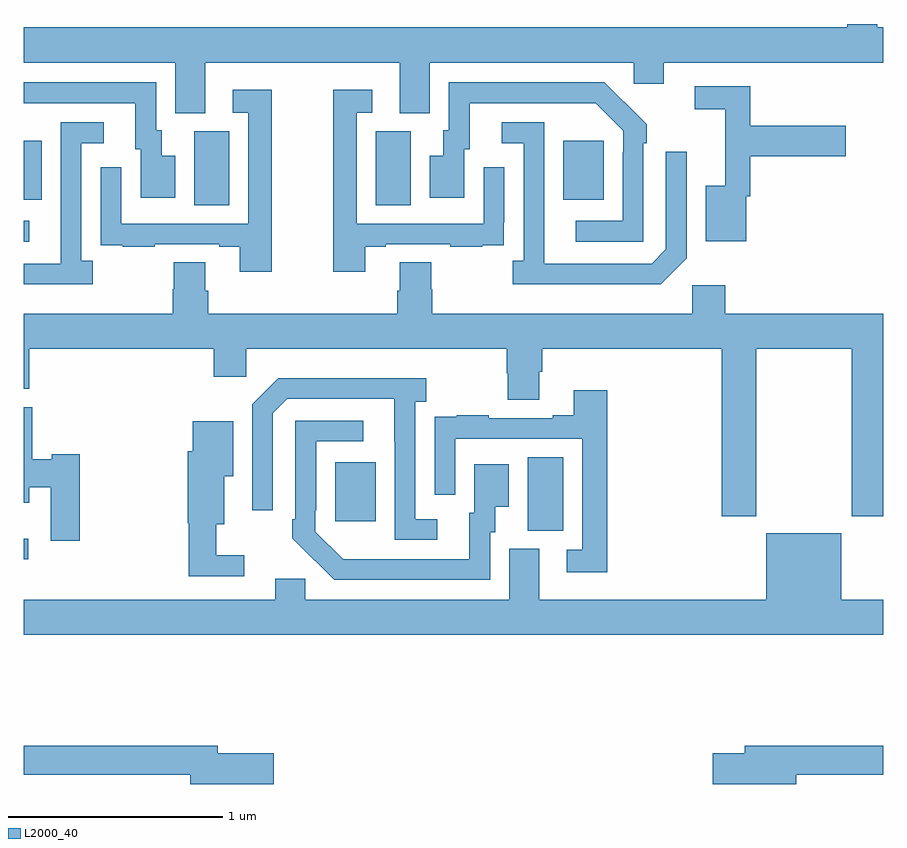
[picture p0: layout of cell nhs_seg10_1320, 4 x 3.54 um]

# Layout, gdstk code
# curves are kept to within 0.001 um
import gdstk
lib = gdstk.Library(unit=1e-6, precision=1e-09)
def R(c, l, rs):  # rectangles x0, y0, x1, y1
    for r in rs: c.add(gdstk.rectangle(r[:2], r[2:], *l))
def P(c, l, *ps):  # polygons
    for p in ps: c.add(gdstk.Polygon(p, *l))
L2000_40 = (2000, 40)

nhs_seg10_1320 = lib.new_cell('nhs_seg10_1320')
R(nhs_seg10_1320, L2000_40, [(179,1294.008,179.02,1294.104), (181.346,1294.141,181.51,1294.484), (180.449,1294.185,180.637,1294.459), (179,1295.487,179.026,1295.583), (179.792,1295.656,179.956,1296), (180.638,1295.656,180.802,1296), (179,1295.681,179.083,1295.956), (181.511,1295.681,181.699,1295.956)])
P(nhs_seg10_1320, L2000_40, [(179.845,1296.32),(180.749,1296.32),(180.749,1296.085),(180.889,1296.085),(180.889,1296.32),(181.839,1296.32),(181.839,1296.222),(181.978,1296.222),(181.978,1296.32),(183,1296.32),(183,1296.484),(182.973,1296.484),(182.973,1296.5),(182.834,1296.5),(182.834,1296.484),(179,1296.484),(179,1296.32),(179.705,1296.32),(179.705,1296.085),(179.845,1296.085)],
  [(179.704,1295.887),(179.641,1295.887),(179.641,1296.006),(179.616,1296.006),(179.616,1296.228),(179,1296.228),(179,1296.132),(179.519,1296.132),(179.519,1295.916),(179.543,1295.916),(179.543,1295.691),(179.704,1295.691)],
  [(181.884,1295.945),(181.899,1295.945),(181.899,1296.033),(181.702,1296.228),(180.978,1296.228),(180.978,1296.006),(180.953,1296.006),(180.953,1295.887),(180.89,1295.887),(180.89,1295.691),(181.051,1295.691),(181.051,1295.916),(181.075,1295.916),(181.075,1296.132),(181.663,1296.132),(181.791,1296.003),(181.791,1295.903),(181.788,1295.903),(181.788,1295.583),(181.569,1295.583),(181.569,1295.487),(181.884,1295.487)],
  [(182.362,1295.697),(182.381,1295.697),(182.381,1295.885),(182.827,1295.885),(182.827,1296.027),(182.381,1296.027),(182.381,1296.21),(182.124,1296.21),(182.124,1296.102),(182.264,1296.102),(182.264,1295.746),(182.174,1295.746),(182.174,1295.489),(182.362,1295.489)],
  [(180.154,1296.193),(179.973,1296.193),(179.973,1296.087),(180.045,1296.087),(180.045,1295.571),(179.454,1295.571),(179.454,1295.833),(179.358,1295.833),(179.358,1295.578),(179.359,1295.578),(179.359,1295.469),(179.461,1295.469),(179.461,1295.463),(179.609,1295.463),(179.609,1295.475),(179.909,1295.475),(179.909,1295.463),(180.005,1295.463),(180.005,1295.346),(180.154,1295.346)],
  [(180.589,1295.463),(180.685,1295.463),(180.685,1295.475),(180.985,1295.475),(180.985,1295.463),(181.133,1295.463),(181.133,1295.469),(181.235,1295.469),(181.235,1295.578),(181.236,1295.578),(181.236,1295.833),(181.14,1295.833),(181.14,1295.571),(180.549,1295.571),(180.549,1296.087),(180.622,1296.087),(180.622,1296.193),(180.441,1296.193),(180.441,1295.346),(180.589,1295.346)],
  [(182.085,1295.409),(182.085,1295.905),(181.989,1295.905),(181.989,1295.451),(181.923,1295.385),(181.423,1295.385),(181.422,1296.042),(181.224,1296.042),(181.224,1295.946),(181.326,1295.946),(181.326,1295.398),(181.275,1295.398),(181.275,1295.288),(181.964,1295.288)],
  [(179.32,1295.398),(179.268,1295.398),(179.268,1295.946),(179.371,1295.946),(179.371,1296.042),(179.172,1296.042),(179.172,1295.585),(179.171,1295.585),(179.171,1295.385),(179,1295.385),(179,1295.288),(179.32,1295.288)],
  [(179.885,1294.857),(180.036,1294.857),(180.036,1294.988),(181.247,1294.988),(181.247,1294.875),(181.252,1294.875),(181.252,1294.75),(181.399,1294.75),(181.399,1294.882),(181.412,1294.882),(181.412,1294.988),(182.249,1294.988),(182.249,1294.209),(182.409,1294.209),(182.409,1294.988),(182.854,1294.988),(182.854,1294.209),(183,1294.209),(183,1295.152),(182.264,1295.152),(182.264,1295.284),(182.112,1295.284),(182.112,1295.152),(180.902,1295.152),(180.902,1295.265),(180.897,1295.265),(180.897,1295.39),(180.749,1295.39),(180.749,1295.258),(180.737,1295.258),(180.737,1295.152),(179.858,1295.152),(179.858,1295.258),(179.845,1295.258),(179.845,1295.39),(179.698,1295.39),(179.698,1295.265),(179.693,1295.265),(179.693,1295.152),(179,1295.152),(179,1294.801),(179.024,1294.801),(179.024,1294.988),(179.885,1294.988)],
  [(180.925,1294.194),(180.822,1294.194),(180.822,1294.742),(180.874,1294.742),(180.874,1294.852),(180.184,1294.852),(180.063,1294.731),(180.063,1294.236),(180.159,1294.236),(180.159,1294.689),(180.225,1294.755),(180.725,1294.755),(180.726,1294.098),(180.925,1294.098)],
  [(181.715,1294.795),(181.559,1294.795),(181.559,1294.678),(181.463,1294.678),(181.463,1294.665),(181.163,1294.665),(181.163,1294.678),(181.015,1294.678),(181.015,1294.671),(180.913,1294.671),(180.913,1294.562),(180.912,1294.562),(180.912,1294.308),(181.008,1294.308),(181.008,1294.569),(181.599,1294.569),(181.599,1294.053),(181.527,1294.053),(181.527,1293.948),(181.715,1293.948)],
  [(179.261,1294.496),(179.13,1294.496),(179.13,1294.473),(179.039,1294.473),(179.039,1294.716),(179,1294.716),(179,1294.272),(179.026,1294.272),(179.026,1294.343),(179.126,1294.343),(179.126,1294.095),(179.261,1294.095)],
  [(181.17,1294.134),(181.195,1294.134),(181.195,1294.253),(181.258,1294.253),(181.258,1294.45),(181.097,1294.45),(181.097,1294.224),(181.073,1294.224),(181.073,1294.008),(180.486,1294.009),(180.357,1294.137),(180.357,1294.237),(180.36,1294.237),(180.36,1294.557),(180.58,1294.557),(180.58,1294.653),(180.264,1294.653),(180.264,1294.195),(180.249,1294.195),(180.249,1294.107),(180.446,1293.912),(181.17,1293.912)],
  [(180.025,1294.027),(179.896,1294.027),(179.896,1294.172),(179.932,1294.172),(179.932,1294.394),(179.974,1294.394),(179.974,1294.651),(179.786,1294.651),(179.786,1294.512),(179.762,1294.512),(179.762,1294.176),(179.767,1294.176),(179.767,1293.93),(180.025,1293.93)],
  [(183,1293.82),(182.806,1293.82),(182.806,1294.129),(182.456,1294.129),(182.456,1293.82),(181.399,1293.82),(181.399,1294.056),(181.259,1294.056),(181.259,1293.82),(180.309,1293.82),(180.309,1293.918),(180.17,1293.918),(180.17,1293.82),(179,1293.82),(179,1293.656),(183,1293.656)],
  [(182.596,1293.004),(183,1293.004),(183,1293.14),(182.357,1293.14),(182.357,1293.104),(182.208,1293.104),(182.208,1292.962),(182.596,1292.962)],
  [(180.163,1293.104),(179.902,1293.104),(179.902,1293.14),(179,1293.14),(179,1293.004),(179.774,1293.004),(179.774,1292.962),(180.163,1292.962)])

lib.write_gds('nhs_seg10_1320.gds')
